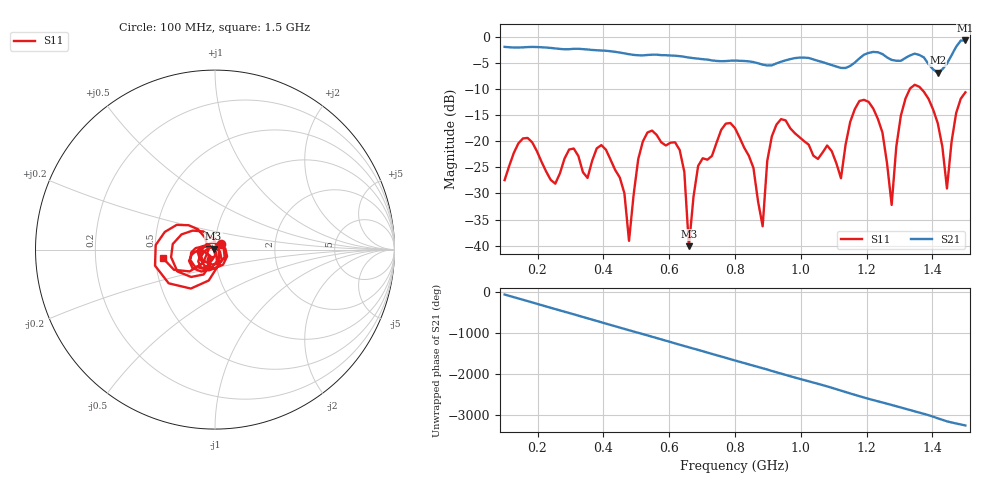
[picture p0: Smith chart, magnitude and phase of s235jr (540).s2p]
! NanoVNA-App
! Date: 2025-09-25 15:08:22
! Start: 100MHz Stop: 1,5GHz Points: 101
! S-Parameter data: F S11 S21 S12 S22
# Hz S RI R 50
!  Frequency  S11_Real  S11_Imag  S21_Real  S21_Imag  S12_Real  S12_Imag  S22_Real  S22_Imag
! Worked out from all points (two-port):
!   101 points, 100 MHz to 1.5 GHz, reference 50 ohm
!   highest |S21| = -0.74 dB at 1.5 GHz (marker M1); lowest = -6.9 dB at 1.416 GHz (marker M2)
!   |S21| within 3 dB of the highest: start of sweep to 631 MHz; 1.186 GHz to 1.257 GHz (70.12 MHz wide, 5.74 % of centre) (the widest 2 of 4)
!   lowest |S11| = -40.1 dB at 660 MHz (marker M3), VSWR 1.02, Z = 49.2 + j0.567 ohm
!   |S11| at or under -10 dB: start of sweep to 1.331 GHz; 1.366 GHz to end of sweep
!   S12 and S22 are empty: the file has one direction only
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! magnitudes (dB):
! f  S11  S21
! 100 MHz  -27.5  -2.0
! 170 MHz  -19.4  -2.0
! 338 MHz  -26.0  -2.4
! 408 MHz  -21.7  -2.7
! 478 MHz  -39.1  -3.4
! 520 MHz  -20.1  -3.6
! 576 MHz  -20.2  -3.5
! 632 MHz  -21.7  -3.7
! 660 MHz  -40.1  -4.0
! 688 MHz  -24.7  -4.2
! 800 MHz  -17.5  -4.6
! 884 MHz  -36.3  -5.4
! 898 MHz  -23.8  -5.5
! 926 MHz  -16.8  -5.1
! 1.038 GHz  -22.8  -4.4
! 1.122 GHz  -27.1  -6.0
! 1.206 GHz  -12.5  -3.1
! 1.276 GHz  -32.2  -4.5
! 1.332 GHz  -9.9  -3.6
! 1.416 GHz  -16.6  -6.9
! 1.444 GHz  -29.1  -5.2
! 1.5 GHz  -10.7  -0.7
